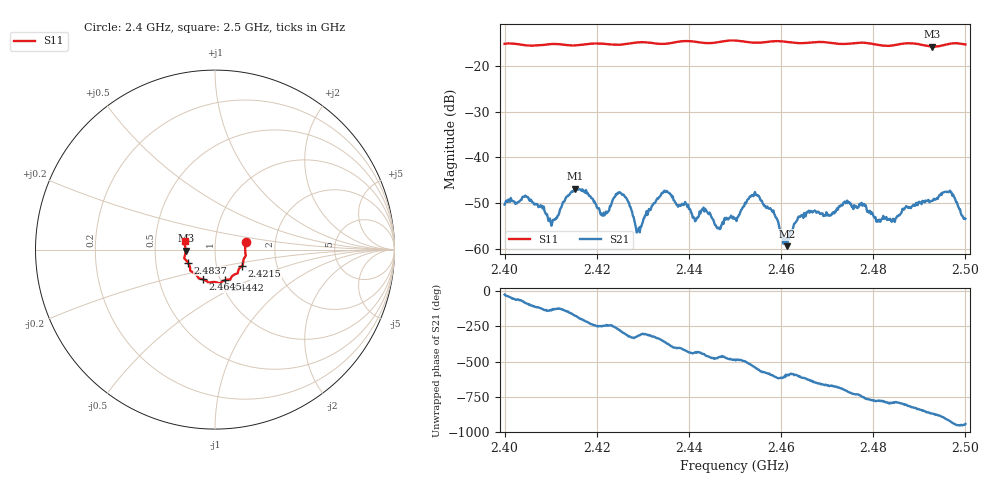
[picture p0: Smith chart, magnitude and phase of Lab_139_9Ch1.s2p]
# Hz S RI R 50
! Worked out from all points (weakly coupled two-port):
!   601 points, 2.4 GHz to 2.5 GHz, reference 50 ohm
!   highest |S21| = -46.84 dB at 2.4153 GHz (marker M1); lowest = -59.5 dB at 2.4613 GHz (marker M2)
!   lowest |S11| = -15.7 dB at 2.4928 GHz (marker M3), VSWR 1.39, Z = 35.9 - j0.389 ohm
!   |S11| at or under -10 dB: start of sweep to end of sweep
!   S12 and S22 are empty: the file has one direction only
!   S11 on the Smith chart (normalised r, x): 2.4 GHz: 1.41, +0.12; 2.4215 GHz: 1.33, -0.25; 2.4442 GHz: 1.05, -0.37; 2.4645 GHz: 0.83, -0.29; 2.4837 GHz: 0.73, -0.11; 2.5 GHz: 0.71, +0.07
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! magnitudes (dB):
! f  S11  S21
! 2.4 GHz  -15.1  -50.3
! 2.4047 GHz  -15.5  -48.5
! 2.4105 GHz  -15.1  -53.7
! 2.4153 GHz  -15.4  -46.8
! 2.4167 GHz  -15.3  -47.3
! 2.4215 GHz  -15.1  -52.1
! 2.4253 GHz  -15.3  -47.9
! 2.4292 GHz  -14.8  -55.4
! 2.4333 GHz  -15.1  -49.0
! 2.4442 GHz  -15.0  -52.3
! 2.4463 GHz  -14.8  -55.5
! 2.45 GHz  -14.4  -53.4
! 2.4547 GHz  -14.9  -48.3
! 2.4613 GHz  -14.7  -59.5
! 2.4645 GHz  -15.0  -52.6
! 2.4667 GHz  -14.8  -51.8
! 2.4743 GHz  -15.1  -49.5
! 2.4833 GHz  -15.6  -53.6
! 2.4837 GHz  -15.5  -53.4
! 2.4928 GHz  -15.7  -49.5
! 2.4965 GHz  -15.1  -47.5
! 2.5 GHz  -15.3  -53.4
